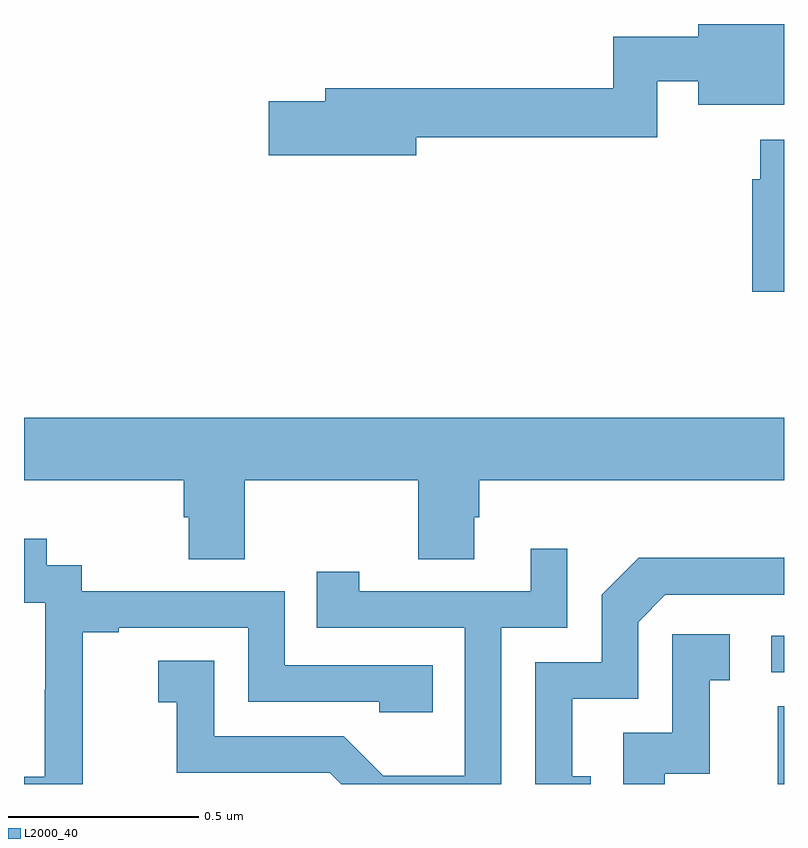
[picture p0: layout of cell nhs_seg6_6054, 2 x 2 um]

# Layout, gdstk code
import gdstk
lib = gdstk.Library(unit=1e-6, precision=1e-09)
def R(c, l, rs):  # rectangles x0, y0, x1, y1
    for r in rs: c.add(gdstk.rectangle(r[:2], r[2:], *l))
def P(c, l, *ps):  # polygons
    for p in ps: c.add(gdstk.Polygon(p, *l))
L2000_40 = (2000, 40)

nhs_seg6_6054 = lib.new_cell('nhs_seg6_6054')
R(nhs_seg6_6054, L2000_40, [(191.984,982.5,192,982.705), (191.967,982.794,192,982.89)])
P(nhs_seg6_6054, L2000_40, [(191.032,984.202),(191.667,984.202),(191.667,984.349),(191.774,984.349),(191.774,984.287),(192,984.287),(192,984.5),(191.774,984.5),(191.774,984.466),(191.551,984.466),(191.551,984.331),(190.793,984.331),(190.793,984.297),(190.644,984.297),(190.644,984.155),(191.032,984.155)],
  [(192,984.196),(191.937,984.196),(191.937,984.092),(191.917,984.092),(191.917,983.796),(192,983.796)],
  [(190.581,983.3),(191.038,983.3),(191.038,983.092),(191.185,983.092),(191.185,983.202),(191.198,983.202),(191.198,983.3),(192,983.3),(192,983.464),(190,983.464),(190,983.3),(190.421,983.3),(190.421,983.202),(190.433,983.202),(190.433,983.092),(190.581,983.092)],
  [(190.155,982.615),(190.154,982.615),(190.154,982.899),(190.249,982.899),(190.249,982.911),(190.59,982.911),(190.59,982.716),(190.935,982.716),(190.935,982.689),(191.075,982.689),(191.075,982.812),(190.686,982.812),(190.686,983.007),(190.152,983.007),(190.152,983.076),(190.06,983.076),(190.06,983.146),(190,983.146),(190,982.977),(190.056,982.977),(190.056,982.748),(190.055,982.748),(190.055,982.519),(190,982.519),(190,982.5),(190.155,982.5)],
  [(191.256,982.911),(191.43,982.911),(191.43,983.119),(191.333,983.119),(191.333,983.007),(190.882,983.007),(190.882,983.059),(190.771,983.059),(190.771,982.911),(191.16,982.911),(191.16,982.522),(190.946,982.522),(190.842,982.626),(190.5,982.626),(190.5,982.825),(190.353,982.825),(190.353,982.715),(190.402,982.715),(190.402,982.53),(190.805,982.53),(190.835,982.5),(191.256,982.5)],
  [(191.492,982.521),(191.443,982.521),(191.443,982.725),(191.616,982.725),(191.616,982.926),(191.688,982.998),(192,982.998),(192,983.096),(191.618,983.096),(191.52,982.998),(191.52,982.821),(191.346,982.821),(191.346,982.5),(191.492,982.5)],
  [(191.686,982.527),(191.804,982.527),(191.804,982.773),(191.857,982.773),(191.857,982.894),(191.706,982.894),(191.706,982.635),(191.577,982.635),(191.577,982.5),(191.686,982.5)])

lib.write_gds('nhs_seg6_6054.gds')
